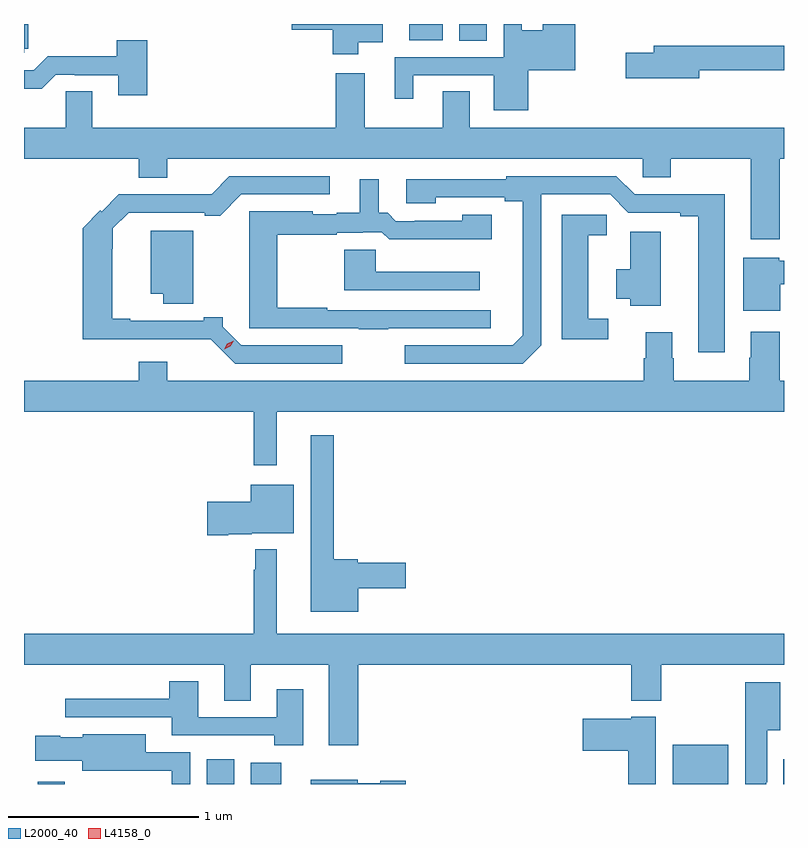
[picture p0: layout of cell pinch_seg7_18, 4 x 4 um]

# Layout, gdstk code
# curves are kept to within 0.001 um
import gdstk
lib = gdstk.Library(unit=1e-6, precision=1e-09)
def R(c, l, rs):  # rectangles x0, y0, x1, y1
    for r in rs: c.add(gdstk.rectangle(r[:2], r[2:], *l))
def P(c, l, *ps):  # polygons
    for p in ps: c.add(gdstk.Polygon(p, *l))
L2000_40 = (2000, 40)
L4158_0 = (4158, 0)

pinch_seg7_18 = lib.new_cell('pinch_seg7_18')
R(pinch_seg7_18, L2000_40, [(1019.384,1046.609,1019.526,1046.62), (1020.275,1046.609,1020.418,1046.74), (1020.506,1046.609,1020.667,1046.722), (1022.726,1046.609,1023.019,1046.815), (1023.308,1046.609,1023.312,1046.74), (1021.604,1050.52,1021.747,1050.609), (1021.34,1050.524,1021.516,1050.609), (1019.71,1050.608,1019.968,1050.609)])
P(pinch_seg7_18, L2000_40, [(1021.072,1050.512),(1021.201,1050.512),(1021.201,1050.609),(1020.721,1050.609),(1020.721,1050.58),(1020.938,1050.58),(1020.938,1050.45),(1021.072,1050.45)],
  [(1021.966,1050.365),(1022.213,1050.365),(1022.213,1050.609),(1022.042,1050.609),(1022.042,1050.577),(1021.932,1050.577),(1021.932,1050.609),(1021.836,1050.609),(1021.836,1050.435),(1021.262,1050.435),(1021.262,1050.216),(1021.36,1050.216),(1021.36,1050.339),(1021.784,1050.339),(1021.784,1050.155),(1021.966,1050.155)],
  [(1019.313,1050.48),(1019.335,1050.48),(1019.335,1050.609),(1019.312,1050.609),(1019.312,1050.459),(1019.313,1050.459)],
  [(1019.96,1050.523),(1019.8,1050.523),(1019.8,1050.439),(1019.437,1050.439),(1019.364,1050.366),(1019.312,1050.366),(1019.312,1050.269),(1019.405,1050.269),(1019.478,1050.342),(1019.578,1050.342),(1019.578,1050.339),(1019.807,1050.339),(1019.807,1050.234),(1019.96,1050.234)],
  [(1022.866,1050.366),(1023.312,1050.366),(1023.312,1050.494),(1022.627,1050.494),(1022.627,1050.458),(1022.478,1050.458),(1022.478,1050.323),(1022.866,1050.323)],
  [(1023.29,1049.9),(1023.312,1049.9),(1023.312,1050.064),(1021.657,1050.064),(1021.657,1050.254),(1021.517,1050.254),(1021.517,1050.064),(1021.105,1050.064),(1021.105,1050.349),(1020.953,1050.349),(1020.953,1050.064),(1019.671,1050.064),(1019.671,1050.254),(1019.532,1050.254),(1019.532,1050.064),(1019.312,1050.064),(1019.312,1049.9),(1019.915,1049.9),(1019.915,1049.801),(1020.067,1049.801),(1020.067,1049.9),(1022.568,1049.9),(1022.568,1049.802),(1022.715,1049.802),(1022.715,1049.9),(1023.137,1049.9),(1023.137,1049.475),(1023.29,1049.475)],
  [(1022.034,1048.917),(1022.034,1049.712),(1022.397,1049.712),(1022.493,1049.616),(1022.765,1049.616),(1022.765,1049.596),(1022.861,1049.596),(1022.861,1048.881),(1023.001,1048.881),(1023.001,1049.714),(1022.765,1049.714),(1022.765,1049.712),(1022.526,1049.712),(1022.43,1049.808),(1021.851,1049.808),(1021.851,1049.793),(1021.323,1049.793),(1021.323,1049.666),(1021.479,1049.666),(1021.479,1049.697),(1021.841,1049.697),(1021.841,1049.677),(1021.937,1049.677),(1021.937,1048.97),(1021.884,1048.917),(1021.317,1048.917),(1021.317,1048.821),(1021.938,1048.821)],
  [(1020.988,1048.917),(1020.456,1048.917),(1020.357,1049.016),(1020.357,1049.066),(1020.257,1049.066),(1020.257,1049.046),(1019.872,1049.046),(1019.872,1049.059),(1019.776,1049.059),(1019.776,1049.426),(1019.779,1049.426),(1019.779,1049.533),(1019.862,1049.616),(1020.263,1049.616),(1020.263,1049.6),(1020.344,1049.6),(1020.456,1049.712),(1020.922,1049.712),(1020.922,1049.808),(1020.393,1049.808),(1020.299,1049.714),(1020.194,1049.714),(1020.194,1049.712),(1019.811,1049.712),(1019.721,1049.622),(1019.714,1049.629),(1019.621,1049.535),(1019.621,1048.95),(1020.296,1048.949),(1020.423,1048.821),(1020.988,1048.821)],
  [(1021.229,1049.007),(1021.768,1049.007),(1021.768,1049.103),(1020.908,1049.103),(1020.908,1049.116),(1020.645,1049.116),(1020.645,1049.499),(1020.957,1049.499),(1020.957,1049.511),(1021.094,1049.511),(1021.094,1049.514),(1021.194,1049.514),(1021.234,1049.475),(1021.427,1049.475),(1021.427,1049.477),(1021.774,1049.477),(1021.774,1049.605),(1021.618,1049.605),(1021.618,1049.574),(1021.369,1049.574),(1021.369,1049.571),(1021.269,1049.571),(1021.226,1049.615),(1021.18,1049.615),(1021.18,1049.791),(1021.079,1049.791),(1021.079,1049.615),(1020.957,1049.615),(1020.957,1049.607),(1020.831,1049.607),(1020.831,1049.623),(1020.497,1049.623),(1020.497,1049.007),(1021.075,1049.007),(1021.075,1049.002),(1021.229,1049.002)],
  [(1022.386,1049.059),(1022.281,1049.059),(1022.281,1049.497),(1022.38,1049.497),(1022.38,1049.606),(1022.141,1049.606),(1022.141,1048.949),(1022.386,1048.949)],
  [(1020.202,1049.521),(1019.978,1049.521),(1019.978,1049.189),(1020.044,1049.189),(1020.044,1049.136),(1020.202,1049.136)],
  [(1022.662,1049.515),(1022.504,1049.515),(1022.504,1049.319),(1022.429,1049.319),(1022.429,1049.164),(1022.504,1049.164),(1022.504,1049.126),(1022.662,1049.126)],
  [(1021.711,1049.305),(1021.163,1049.305),(1021.163,1049.422),(1020.997,1049.422),(1020.997,1049.208),(1021.711,1049.208)],
  [(1023.292,1049.24),(1023.312,1049.24),(1023.312,1049.362),(1023.288,1049.362),(1023.288,1049.38),(1023.098,1049.38),(1023.098,1049.099),(1023.292,1049.099)],
  [(1020.643,1048.568),(1023.312,1048.568),(1023.312,1048.732),(1023.29,1048.732),(1023.29,1048.99),(1023.137,1048.99),(1023.137,1048.853),(1023.13,1048.853),(1023.13,1048.732),(1022.733,1048.732),(1022.733,1048.851),(1022.725,1048.851),(1022.725,1048.987),(1022.585,1048.987),(1022.585,1048.851),(1022.573,1048.851),(1022.573,1048.732),(1020.067,1048.732),(1020.067,1048.831),(1019.915,1048.831),(1019.915,1048.732),(1019.312,1048.732),(1019.312,1048.568),(1020.522,1048.568),(1020.522,1048.287),(1020.643,1048.287)],
  [(1021.072,1047.638),(1021.321,1047.638),(1021.321,1047.773),(1021.068,1047.773),(1021.068,1047.791),(1020.943,1047.791),(1020.943,1048.444),(1020.821,1048.444),(1020.821,1047.515),(1021.072,1047.515)],
  [(1020.388,1047.923),(1020.51,1047.923),(1020.51,1047.929),(1020.733,1047.929),(1020.733,1048.183),(1020.506,1048.183),(1020.506,1048.095),(1020.276,1048.095),(1020.276,1047.917),(1020.388,1047.917)],
  [(1021.07,1047.236),(1022.507,1047.236),(1022.507,1047.047),(1022.667,1047.047),(1022.667,1047.236),(1023.312,1047.236),(1023.312,1047.4),(1020.643,1047.4),(1020.643,1047.844),(1020.529,1047.844),(1020.529,1047.737),(1020.522,1047.737),(1020.522,1047.4),(1019.312,1047.4),(1019.312,1047.236),(1020.365,1047.236),(1020.365,1047.046),(1020.505,1047.046),(1020.505,1047.236),(1020.917,1047.236),(1020.917,1046.814),(1021.07,1046.814)],
  [(1020.781,1047.109),(1020.641,1047.109),(1020.641,1046.961),(1020.229,1046.961),(1020.229,1047.151),(1020.077,1047.151),(1020.077,1047.058),(1019.529,1047.058),(1019.529,1046.961),(1020.089,1046.961),(1020.089,1046.865),(1020.629,1046.865),(1020.629,1046.814),(1020.781,1046.814)],
  [(1023.219,1046.617),(1023.223,1046.617),(1023.223,1046.891),(1023.292,1046.891),(1023.292,1047.145),(1023.107,1047.145),(1023.107,1046.609),(1023.219,1046.609)],
  [(1022.638,1046.962),(1022.508,1046.962),(1022.508,1046.953),(1022.253,1046.953),(1022.253,1046.783),(1022.492,1046.783),(1022.492,1046.609),(1022.638,1046.609)],
  [(1020.186,1046.775),(1019.953,1046.775),(1019.953,1046.872),(1019.622,1046.872),(1019.622,1046.854),(1019.502,1046.854),(1019.502,1046.862),(1019.37,1046.862),(1019.37,1046.732),(1019.618,1046.732),(1019.618,1046.678),(1019.844,1046.678),(1019.844,1046.679),(1020.09,1046.679),(1020.09,1046.609),(1020.186,1046.609)],
  [(1021.321,1046.627),(1021.188,1046.627),(1021.188,1046.614),(1021.068,1046.614),(1021.068,1046.632),(1020.821,1046.632),(1020.821,1046.609),(1021.321,1046.609)])
P(pinch_seg7_18, L4158_0, [(1020.365,1048.898),(1020.365,1048.898),(1020.383,1048.927),(1020.415,1048.942),(1020.415,1048.942),(1020.415,1048.942),(1020.397,1048.913),(1020.366,1048.898)])

lib.write_gds('pinch_seg7_18.gds')
